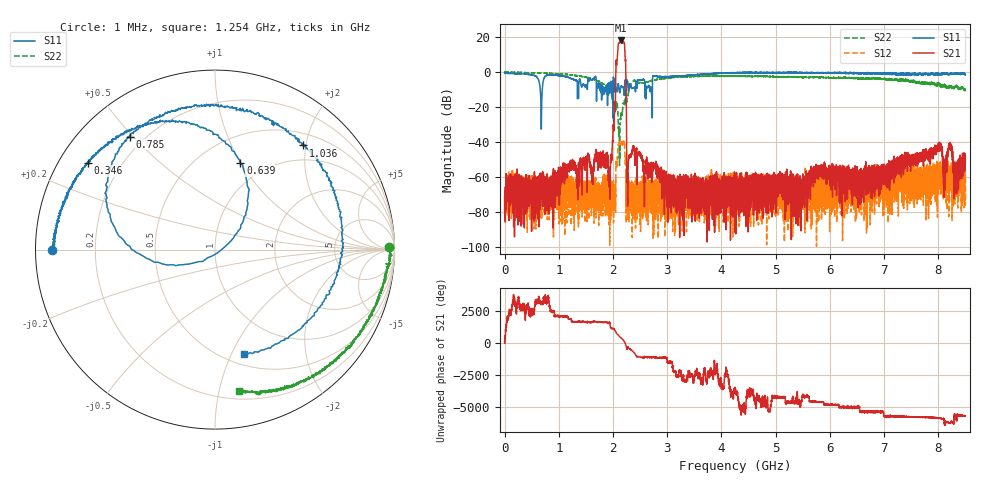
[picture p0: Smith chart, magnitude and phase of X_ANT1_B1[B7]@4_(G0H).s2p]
#  HZ  S  RI  R  50.00
! Rohde & Schwarz Vector Network Analyzer
! Rohde-Schwarz,ZNBT8-20Port,1318700624101681,3.50
! Created: UTC 7/15/2025, 2:13:43 PM
! freq[Hz]  re:S1010  im:S1010  re:S0410  im:S0410  re:S1004  im:S1004  re:S44  im:S44
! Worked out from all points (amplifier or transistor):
!   8500 points, 1 MHz to 8.5 GHz, reference 50 ohm
!   highest |S21| = 17.8 dB at 2.141 GHz (marker M1)
!   |S21| within 3 dB of that: 2.095 GHz to 2.215 GHz (120.2 MHz wide, 5.58 % of centre)
!   unconditionally stable (mu >= 1): start of sweep to end of sweep
!   at 1.417 GHz: K = 547890.57, MAG = -50.7 dB, |S12| = -74.1 dB
!   at 4.251 GHz: K = 174777.54, MAG = -51.9 dB, |S12| = -71.1 dB
!   at 8.5 GHz: K = 68279.09, MAG = -47.0 dB, |S12| = -61.0 dB
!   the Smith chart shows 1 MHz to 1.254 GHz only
!   S11 on the Smith chart (normalised r, x): 1 MHz: 0.05, -0.00; 346 MHz: 0.08, +0.31; 639 MHz: 0.77, +0.99; 785 MHz: 0.15, +0.49; 1.036 GHz: 0.71, +1.95; 1.254 GHz: 0.61, -1.12
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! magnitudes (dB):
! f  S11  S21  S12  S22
! 1 MHz  -0.9  -72.1  -71.7  -0.2
! 346 MHz  -1.3  -68.8  -79.8  -0.5
! 639 MHz  -6.0  -61.1  -75.0  -0.8
! 785 MHz  -2.1  -58.4  -68.5  -1.0
! 1.036 GHz  -2.4  -54.5  -71.1  -1.4
! 1.254 GHz  -4.3  -53.4  -61.5  -1.9
! 1.418 GHz  -8.2  -55.2  -76.5  -2.7
! 1.947 GHz  -10.9  -58.4  -74.2  -10.9
! 2.009 GHz  -3.2  -30.7  -62.4  -26.0
! 2.089 GHz  -8.8  12.4  -45.7  -22.1
! 2.141 GHz  -9.1  17.8  -40.0  -25.2
! 2.205 GHz  -12.0  16.5  -40.8  -17.0
! 2.293 GHz  -10.0  -49.3  -61.9  -11.4
! 2.834 GHz  -2.8  -58.4  -75.6  -4.4
! 4.251 GHz  -0.6  -64.0  -71.1  -2.6
! 5.667 GHz  -0.4  -62.5  -61.7  -3.1
! 7.084 GHz  -0.9  -54.7  -64.6  -4.2
! 8.008 GHz  -1.1  -41.6  -55.9  -7.8
! 8.118 GHz  -1.1  -63.1  -57.6  -8.2
! 8.224 GHz  -1.3  -41.0  -67.1  -8.6
! 8.327 GHz  -1.2  -51.8  -68.6  -8.5
! 8.5 GHz  -1.7  -52.2  -61.0  -10.4
